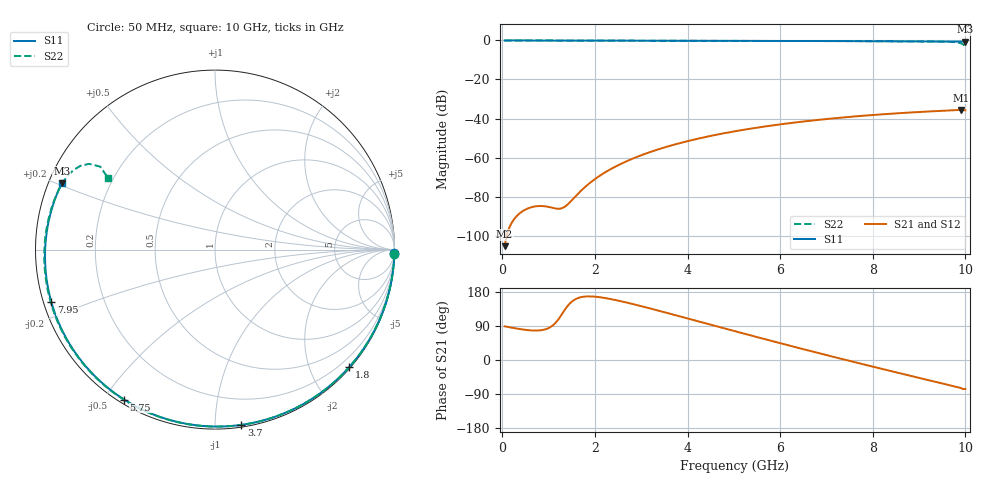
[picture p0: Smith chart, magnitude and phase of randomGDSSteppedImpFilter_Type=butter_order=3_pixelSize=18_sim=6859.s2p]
! freq	dB(S11)	phase(S11)	dB(S12)	phase(S12)
!  dB(S21)	phase(S21)	dB(S22)	phase(S22)
!S-par simulation data
#  GHz  S  DB  R 50
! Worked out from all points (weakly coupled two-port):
!   200 points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, 50 MHz to 10 GHz, reference 50 ohm
!   highest |S21| = -35.55 dB at 9.9 GHz (marker M1); lowest = -105.4 dB at 50 MHz (marker M2)
!   lowest |S11| = -0.6 dB at 10 GHz (marker M3), VSWR 27.91, Z = 1.87 + j10.4 ohm
!   |S11| at or under -10 dB: nowhere
!   |S22| runs from -2.9 to 0.0 dB; largest |S21 - S12| = 0
!   S11 on the Smith chart (normalised r, x): 50 MHz: 0, -97; 1.8 GHz: 0.02, -2.67; 3.7 GHz: 0.01, -1.16; 5.75 GHz: 0.02, -0.56; 7.95 GHz: 0.02, -0.16; 10 GHz: 0.04, +0.21
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0.05  -0.00 -1.2  -105.38 89.0  -105.38 89.0  -0.00 -1.3
0.8  -0.02 -18.5  -84.82 78.1  -84.82 78.1  -0.03 -19.8
1.55  -0.05 -35.5  -80.62 158.4  -80.62 158.4  -0.05 -38.0
1.75  -0.05 -40.0  -75.86 166.9  -75.86 166.9  -0.05 -42.8
1.8  -0.05 -41.1  -74.80 167.6  -74.80 167.6  -0.06 -43.9
2.1  -0.06 -47.7  -69.38 165.8  -69.38 165.8  -0.06 -51.0
2.45  -0.07 -55.3  -64.53 158.1  -64.53 158.1  -0.08 -59.0
2.9  -0.08 -64.9  -59.72 145.2  -59.72 145.2  -0.09 -69.1
3.4  -0.10 -75.4  -55.55 129.4  -55.55 129.4  -0.10 -80.0
3.7  -0.11 -81.5  -53.45 119.6  -53.45 119.6  -0.11 -86.3
4.35  -0.13 -94.4  -49.65 98.2  -49.65 98.2  -0.14 -99.7
5.05  -0.17 -108.0  -46.41 75.1  -46.41 75.1  -0.17 -113.6
5.75  -0.20 -121.2  -43.80 52.4  -43.80 52.4  -0.21 -127.1
6.7  -0.27 -138.9  -40.99 22.3  -40.99 22.3  -0.27 -144.9
7.95  -0.38 -162.2  -38.28 -16.1  -38.28 -16.1  -0.38 -168.3
8.35  -0.42 -169.9  -37.59 -28.0  -37.59 -28.0  -0.42 -176.0
8.95  -0.49 178.4  -36.72 -45.7  -36.72 -45.7  -0.49 172.1
9.45  -0.55 168.2  -36.11 -60.2  -36.11 -60.2  -0.59 161.0
9.75  -0.59 161.9  -35.78 -68.9  -35.78 -68.9  -0.79 152.3
9.9  -0.61 158.7  -35.55 -73.8  -35.55 -73.8  -1.42 145.8
9.95  -0.62 157.6  -35.67 -76.8  -35.67 -76.8  -2.06 144.1
10  -0.62 156.6  -35.78 -76.4  -35.78 -76.4  -2.93 146.3
